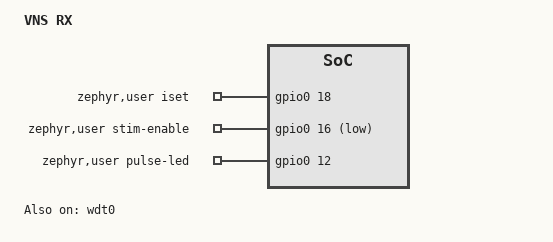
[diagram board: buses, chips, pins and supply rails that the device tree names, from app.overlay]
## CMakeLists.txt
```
cmake_minimum_required(VERSION 3.20.0)
find_package(Zephyr REQUIRED HINTS $ENV{ZEPHYR_BASE})
project(vns_rx LANGUAGES C)
if(NOT NCS_VERSION STREQUAL "3.3.0")
  message(FATAL_ERROR "NCS 3.3.0 is required; found '${NCS_VERSION}'")
endif()
if(NOT CONFIG_BOARD_NRF52DK_NRF52832)
  message(FATAL_ERROR "Use nrf52dk/nrf52832 with the RX app.overlay")
endif()
target_include_directories(app PRIVATE include)
target_compile_definitions(app PRIVATE VNS_ROLE_RX=1)
target_sources(app PRIVATE src/main.c src/rx_stim.c src/rx_hw.c src/rx_service.c src/rx_link_policy.c)
```

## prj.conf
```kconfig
CONFIG_GPIO=y
CONFIG_ADC=n
CONFIG_NRFX_TIMER=y
CONFIG_NRFX_PWM=y
CONFIG_NRFX_GPPI=y
CONFIG_WATCHDOG=y
CONFIG_REBOOT=y
CONFIG_HW_STACK_PROTECTION=y
CONFIG_ASSERT=y
CONFIG_MAIN_STACK_SIZE=2048
CONFIG_SYSTEM_WORKQUEUE_STACK_SIZE=2048
CONFIG_SERIAL=n
CONFIG_CONSOLE=n
CONFIG_UART_CONSOLE=n
CONFIG_LOG=n
# RC avoids assuming an unconfirmed RX LF crystal. Review clock accuracy before output approval.
CONFIG_CLOCK_CONTROL_NRF_K32SRC_RC=y
CONFIG_BT=y
CONFIG_BT_PERIPHERAL=y
CONFIG_BT_MAX_CONN=1
CONFIG_BT_BUF_ACL_TX_COUNT=6
CONFIG_BT_L2CAP_TX_BUF_COUNT=6
CONFIG_BT_ATT_TX_COUNT=6
CONFIG_BT_CONN_TX_MAX=6
CONFIG_BT_DEVICE_NAME="VNS_RX_01"
CONFIG_BT_PERIPHERAL_PREF_MIN_INT=24
CONFIG_BT_PERIPHERAL_PREF_MAX_INT=40
CONFIG_BT_PERIPHERAL_PREF_TIMEOUT=200
CONFIG_BT_SMP=n
CONFIG_BT_PRIVACY=n
CONFIG_BT_SETTINGS=n
CONFIG_SETTINGS=y
CONFIG_SETTINGS_NVS=y
CONFIG_NVS=y
CONFIG_FLASH=y
CONFIG_FLASH_MAP=y
CONFIG_FLASH_PAGE_LAYOUT=y
CONFIG_ENTROPY_GENERATOR=y
```

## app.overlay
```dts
#include <zephyr/dt-bindings/gpio/gpio.h>
#include <zephyr/dt-bindings/regulator/nrf5x.h>
/delete-node/ &arduino_header;
/delete-node/ &arduino_adc;
/ {
    model = "VNS RX";
    /delete-node/ leds;
    /delete-node/ pwmleds;
    /delete-node/ buttons;
    /delete-node/ aliases;
    chosen {
        /delete-property/ zephyr,console;
        /delete-property/ zephyr,shell-uart;
        /delete-property/ zephyr,uart-mcumgr;
        /delete-property/ zephyr,bt-mon-uart;
        /delete-property/ zephyr,code-partition;
    };
    /* Confirmed by the user on 2026-11-02: same wiring as legacy VNS_nRF.
     * This receiver has no external voltage-monitor circuit. */
    zephyr,user {
        iset-gpios = <&gpio0 18 GPIO_ACTIVE_HIGH>;
        stim-enable-gpios = <&gpio0 16 GPIO_ACTIVE_LOW>;
        pulse-led-gpios = <&gpio0 12 GPIO_ACTIVE_HIGH>;
    };
};
&reg { regulator-initial-mode = <NRF5X_REG_MODE_LDO>; };
&uicr { /delete-property/ gpio-as-nreset; };
&uart0 { status = "disabled"; };
&i2c0 { status = "disabled"; };
&i2c1 { status = "disabled"; };
&spi0 { status = "disabled"; };
&spi1 { status = "disabled"; };
&spi2 {
    status = "disabled";
    /* The DK CS references arduino_header, deleted above. Disabled nodes must
     * still have valid phandles, so remove the inherited DK-only reference. */
    /delete-property/ cs-gpios;
};
&nfct { status = "disabled"; };
&adc { status = "disabled"; };
&gpiote { status = "okay"; };
&wdt0 { status = "okay"; };
&pwm0 { status = "disabled"; };
/* TIMER1 supplies the LED carrier directly through nrfx/PPI. */
&timer1 { status = "disabled"; };
&timer2 { status = "disabled"; };
&timer3 { status = "disabled"; };
&timer4 { status = "disabled"; };
```

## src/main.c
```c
#include "rx_stim.h"
#include "rx_service.h"
#include <zephyr/kernel.h>
#include <zephyr/fatal.h>
#include <zephyr/drivers/watchdog.h>
#include <zephyr/sys/reboot.h>
static void expired(const struct device *dev,int channel){ARG_UNUSED(dev);ARG_UNUSED(channel);rx_stim_emergency_off();}
void k_sys_fatal_error_handler(unsigned int reason,const struct arch_esf *esf) {
    ARG_UNUSED(reason);ARG_UNUSED(esf);rx_stim_emergency_off();sys_reboot(SYS_REBOOT_COLD);CODE_UNREACHABLE;
}
int main(void) {
    /* Hardware initialization failures are reported over the RX status link. */
    (void)rx_stim_init();
    const struct device *wdt=DEVICE_DT_GET(DT_NODELABEL(wdt0));
    if(!device_is_ready(wdt))goto failed;
    const struct wdt_timeout_cfg cfg={.window={.min=0,.max=2000},.callback=expired,.flags=WDT_FLAG_RESET_SOC};
    int channel=wdt_install_timeout(wdt,&cfg);
    /* SWD flash/verify halts the CPU. Pause WDT only while debugger-halted;
     * the normal runtime watchdog remains active, including during sleep. */
    if(channel<0||wdt_setup(wdt,WDT_OPT_PAUSE_HALTED_BY_DBG))goto failed;
    if(rx_service_init())goto failed;
    while(1){rx_service_poll();rx_stim_poll();if(wdt_feed(wdt,channel))goto failed;k_sleep(K_MSEC(20));}
failed:
    rx_stim_emergency_off();k_panic();return 0;
}
```

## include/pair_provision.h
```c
#pragma once
/* Generated ONLY by the user's provisioning step. No shared default key.
 * Addresses are stable BLE identity addresses, not names or guessed GPIOs. */
#define VNS_PAIR_PROVISIONED 0
#define VNS_TX_IDENTITY ""
#define VNS_RX_IDENTITY ""
#define VNS_TX_ADDR_TYPE "random"
#define VNS_RX_ADDR_TYPE "random"
#define VNS_RX_PASSKEY 0
#define VNS_PHONE_PASSKEY 0
```

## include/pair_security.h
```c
#pragma once
#include <zephyr/bluetooth/conn.h>
int pair_security_init(void);
void pair_security_confirm_identity(void);
int pair_security_for_central(struct bt_conn *conn);
bool pair_security_configured(void);
bool pair_security_expected(const bt_addr_le_t *address);
bool pair_security_trusted(struct bt_conn *conn);
```

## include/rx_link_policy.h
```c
#pragma once
#include <zephyr/bluetooth/conn.h>
#include <zephyr/net_buf.h>
/* Prototype discovery label, NOT a cryptographic identity or saved bond. */
#define RX_DISCOVERY_NAME "VNS_RX_01"
int rx_link_init(void);
bool rx_link_configured(void);
bool rx_link_allowed(struct bt_conn *conn);
bool rx_link_candidate(const bt_addr_le_t *addr,struct net_buf_simple *ad);
```

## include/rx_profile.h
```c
#pragma once
#include <zephyr/devicetree.h>
/* User-confirmed legacy RX wiring is in app.overlay. Availability comes from
 * actual GPIO/driver initialization, not a separate approval switch. */
#define RX_HAS_OUTPUT_PINS (DT_NODE_HAS_PROP(DT_PATH(zephyr_user),iset_gpios) && \
                            DT_NODE_HAS_PROP(DT_PATH(zephyr_user),stim_enable_gpios))
#define RX_ISET_FULL_SCALE_UA 1939U /* Legacy VNS_nRF conversion model; NOT measured feedback. */
#define RX_DEFAULT_CURRENT_UA 1000U
#define RX_DEFAULT_FREQUENCY_MHZ 15000U
#define RX_DEFAULT_WIDTH_US 250U
/* Legacy software ranges, bounded by the ISET model and v2 wire fields.
 * These are implementation limits, not clinical treatment recommendations. */
#define RX_MAX_CURRENT_UA RX_ISET_FULL_SCALE_UA
#define RX_MIN_FREQUENCY_MHZ 100U
#define RX_MAX_FREQUENCY_MHZ 500000U
#define RX_MIN_WIDTH_US 100U
#define RX_MAX_WIDTH_US 65535U
#define RX_MAX_DURATION_MS 3600000U
#define RX_ISET_SETTLE_US 6000U /* Legacy stimulation.c SETTLE_MS=6. */
#define RX_LEASE_MS 1500U /* Fault-response deadline; never auto-renewed on reconnect. */
```

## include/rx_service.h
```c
#pragma once
int rx_service_init(void);
void rx_service_poll(void);
```

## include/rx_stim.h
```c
#pragma once
#include "stim_wire.h"
int rx_stim_init(void);
void rx_stim_poll(void);
void rx_stim_stop(uint8_t reason);
void rx_stim_emergency_off(void);
void rx_stim_session(uint32_t nonce,bool link_allowed);
uint8_t rx_stim_command(uint8_t op,uint32_t nonce,const struct stim_params *params,uint32_t permit);
uint32_t rx_stim_generation(void);
void rx_stim_status(uint8_t *p,uint16_t id,uint8_t op,uint8_t result);
void rx_stim_params(uint8_t *p,uint16_t id);
void rx_stim_limits(uint8_t *p);
int rx_hw_init(void);
int rx_hw_apply(struct stim_params *params);
int rx_hw_start(const struct stim_params *params);
void rx_hw_keepalive(void);
void rx_hw_off(void);
bool rx_hw_expired(void);
```

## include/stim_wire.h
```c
#pragma once
#include <stdint.h>
#include <stddef.h>
#include <stdbool.h>
#define STIM_WIRE_VERSION 2
#define STIM_PACKET_SIZE 20
#define STIM_UUID(last) BT_UUID_128_ENCODE(last,0x1b15,0x4f1b,0x9e90,0x77a4c9b5a200)
#define STIM_RX_SERVICE 0x7f520001
#define STIM_RX_WRITE   0x7f520002
#define STIM_RX_NOTIFY  0x7f520003
#define STIM_GW_SERVICE 0x7f510001
#define STIM_GW_WRITE   0x7f510002
#define STIM_GW_NOTIFY  0x7f510003
enum stim_op { STIM_QUERY=1,STIM_CONFIG,STIM_START,STIM_STOP,STIM_KEEPALIVE };
enum stim_packet { STIM_STATUS=0x80,STIM_PARAMS,STIM_GATEWAY,STIM_LIMITS,STIM_REJECT };
enum stim_state { STIM_OFF,STIM_SETTLING,STIM_ACTIVE,STIM_LOCKED,STIM_FAULT };
enum stim_result { STIM_OK,STIM_BAD_FRAME,STIM_BAD_RANGE,STIM_NOT_READY,STIM_SECURITY,
    STIM_POWER,STIM_TIMEOUT,STIM_HARDWARE,STIM_BUSY,STIM_STALE,STIM_PROFILE };
enum stim_flags { STIM_F_READY=1,STIM_F_SECURE=2,STIM_F_POWER=4,STIM_F_PROFILE=8,
    STIM_F_BOARD=16,STIM_F_CONFIGURED=32,STIM_F_LINK_ALLOWED=64 };
struct stim_params { uint16_t current_ua;uint32_t frequency_mhz;uint16_t width_us;uint32_t duration_ms; };
static inline uint16_t sw16(const uint8_t *p){return p[0]|((uint16_t)p[1]<<8);}
static inline uint32_t sw32(const uint8_t *p){return sw16(p)|((uint32_t)sw16(p+2)<<16);}
static inline void sp16(uint8_t *p,uint16_t n){p[0]=n;p[1]=n>>8;}
static inline void sp32(uint8_t *p,uint32_t n){sp16(p,n);sp16(p+2,n>>16);}
static inline struct stim_params stim_decode_params(const uint8_t *p) {
    return (struct stim_params){sw16(p+8),sw32(p+10),sw16(p+14),sw32(p+16)};
}
static inline void stim_encode_params(uint8_t *p,const struct stim_params *s) {
    sp16(p+8,s->current_ua);sp32(p+10,s->frequency_mhz);sp16(p+14,s->width_us);sp32(p+16,s->duration_ms);
}
static inline bool stim_command_valid(const uint8_t *p,size_t len) {
    if(len!=20||p[0]!=STIM_WIRE_VERSION||p[1]<STIM_QUERY||p[1]>STIM_KEEPALIVE||sw16(p+2)==0xffff)return false;
    if(p[1]!=STIM_CONFIG)for(unsigned i=8;i<20;i++)if(p[i])return false;
    return true;
}
```

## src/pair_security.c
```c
#include "pair_security.h"
#include "pair_provision.h"
#include <errno.h>
#include <zephyr/kernel.h>
#include <zephyr/bluetooth/bluetooth.h>
static bt_addr_le_t expected;
static bool configured;
static void find_bond(const struct bt_bond_info *info,void *user) {
    bool *found=user;if(!bt_addr_le_cmp(&info->addr,&expected))*found=true;
}
static bool bonded_expected(void) {
    bool found=false;bt_foreach_bond(BT_ID_DEFAULT,find_bond,&found);return found;
}
bool pair_security_configured(void){return configured;}
void pair_security_confirm_identity(void) {
    bt_addr_le_t actual[1],required;size_t count=1;
#if defined(VNS_ROLE_TX)
    const char *addr=VNS_TX_IDENTITY,*type=VNS_TX_ADDR_TYPE;
#else
    const char *addr=VNS_RX_IDENTITY,*type=VNS_RX_ADDR_TYPE;
#endif
    if(!configured)return;
    bt_id_get(actual,&count);
    if(!count||bt_addr_le_from_str(addr,type,&required)||bt_addr_le_cmp(actual,&required))configured=false;
}
bool pair_security_expected(const bt_addr_le_t *a){return configured&&!bt_addr_le_cmp(a,&expected);}
bool pair_security_trusted(struct bt_conn *c) {
    struct bt_conn_info i;
    return c&&!bt_conn_get_info(c,&i)&&pair_security_expected(i.le.dst)&&
        bt_conn_get_security(c)>=BT_SECURITY_L4&&bonded_expected();
}
static enum bt_security_err accept_pair(struct bt_conn *c,const struct bt_conn_pairing_feat *const feat) {
    ARG_UNUSED(feat);struct bt_conn_info i;
    if(!configured||bt_conn_get_info(c,&i))return BT_SECURITY_ERR_PAIR_NOT_ALLOWED;
#if defined(VNS_ROLE_TX)
    if(i.role==BT_CONN_ROLE_PERIPHERAL)return BT_SECURITY_ERR_SUCCESS;
#endif
    /* A stored bond must be reused. Never silently replace it after a failed encryption. */
    if(!pair_security_expected(i.le.dst)||bonded_expected())return BT_SECURITY_ERR_PAIR_NOT_ALLOWED;
#if !defined(VNS_ROLE_TX)
    if(k_uptime_get()>120000)return BT_SECURITY_ERR_PAIR_NOT_ALLOWED;
#endif
    return BT_SECURITY_ERR_SUCCESS;
}
static void cancelled(struct bt_conn *c){ARG_UNUSED(c);}
static void display(struct bt_conn *c,unsigned int key){ARG_UNUSED(c);ARG_UNUSED(key);/* Out-of-band provisioning record, never public telemetry. */}
static uint32_t passkey(struct bt_conn *c) {
    ARG_UNUSED(c);
#if defined(VNS_ROLE_TX)
    return VNS_PHONE_PASSKEY;
#else
    return VNS_RX_PASSKEY;
#endif
}
static const struct bt_conn_auth_cb auth={.pairing_accept=accept_pair,.app_passkey=passkey,.passkey_display=display,.cancel=cancelled};
static void enter_key(struct bt_conn *c) {
    struct bt_conn_info i;
    if(configured&&!bt_conn_get_info(c,&i)&&pair_security_expected(i.le.dst))
        (void)bt_conn_auth_passkey_entry(c,VNS_RX_PASSKEY);
    else (void)bt_conn_auth_cancel(c);
}
static const struct bt_conn_auth_cb central_auth={.pairing_accept=accept_pair,.passkey_entry=enter_key,.cancel=cancelled};
int pair_security_for_central(struct bt_conn *c){return bt_conn_auth_cb_overlay(c,&central_auth);}
int pair_security_init(void) {
#if defined(VNS_ROLE_TX)
    const char *addr=VNS_RX_IDENTITY,*type=VNS_RX_ADDR_TYPE;
#else
    const char *addr=VNS_TX_IDENTITY,*type=VNS_TX_ADDR_TYPE;
#endif
    configured=VNS_PAIR_PROVISIONED&&VNS_RX_PASSKEY>0&&VNS_RX_PASSKEY<=999999&&
        VNS_PHONE_PASSKEY>0&&VNS_PHONE_PASSKEY<=999999&&!bt_addr_le_from_str(addr,type,&expected);
    return bt_conn_auth_cb_register(&auth);
}
```

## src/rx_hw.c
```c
#include "rx_stim.h"
#include "rx_profile.h"
#include <errno.h>
#include <zephyr/kernel.h>
#include <zephyr/init.h>
#include <zephyr/drivers/gpio.h>
#if RX_HAS_OUTPUT_PINS
#include <zephyr/irq.h>
#include <zephyr/drivers/clock_control/nrf_clock_control.h>
#include <zephyr/sys/onoff.h>
#include <gpiote_nrfx.h>
#include <nrfx_timer.h>
#include <nrfx_pwm.h>
#include <nrfx_gpiote.h>
#include <helpers/nrfx_gppi.h>
#include <hal/nrf_gpio.h>
#define USER DT_PATH(zephyr_user)
#define ISET DT_GPIO_PIN(USER,iset_gpios)
#define GATE DT_GPIO_PIN(USER,stim_enable_gpios)
#define LED DT_GPIO_PIN(USER,pulse_led_gpios)
#define ACTIVE_LOW ((DT_GPIO_FLAGS(USER,stim_enable_gpios)&GPIO_ACTIVE_LOW)!=0)
BUILD_ASSERT(ISET==18&&GATE==16&&ACTIVE_LOW,"Keep the user-confirmed legacy RX pin mapping");
BUILD_ASSERT(LED==12&&DT_GPIO_FLAGS(USER,pulse_led_gpios)==GPIO_ACTIVE_HIGH,"Keep legacy LED2 P0.12 active-high");
#define TOP 160U
static nrfx_timer_t pulse=NRFX_TIMER_INSTANCE(NRF_TIMER2),duration=NRFX_TIMER_INSTANCE(NRF_TIMER3),lease=NRFX_TIMER_INSTANCE(NRF_TIMER4);
/* TIMER3 is already the session deadline; TIMER1 is free on nRF52832/MPSL. */
static nrfx_timer_t led_carrier=NRFX_TIMER_INSTANCE(NRF_TIMER1);
static nrfx_pwm_t pwm=NRFX_PWM_INSTANCE(NRF_PWM0);
static nrfx_gpiote_t *const gpiote=&GPIOTE_NRFX_INST_BY_NODE(DT_NODELABEL(gpiote));
static nrfx_gppi_handle_t on_route,off_route,end_route,lease_route;
static nrfx_gppi_handle_t led_on_route,led_off_route,led_stop_route,led_end_route,led_lease_route;
static nrfx_gppi_group_handle_t group;
static bool routes,group_ready,ready;
static uint8_t channel=UINT8_MAX,led_channel=UINT8_MAX;
static uint16_t duty __aligned(4)=BIT(15);
static const nrf_pwm_sequence_t sequence={.values.p_common=&duty,.length=1,.repeats=31,.end_delay=0};
static uint32_t gate_off_task(void){return ACTIVE_LOW?nrfx_gpiote_set_task_address_get(gpiote,GATE):nrfx_gpiote_clr_task_address_get(gpiote,GATE);}
static uint32_t led_off_task(void){return nrfx_gpiote_clr_task_address_get(gpiote,LED);}
static int early_safe(void) {
    nrf_gpio_pin_write(GATE,ACTIVE_LOW); /* Inactive latch before output enable. */
    nrf_gpio_cfg(GATE,NRF_GPIO_PIN_DIR_OUTPUT,NRF_GPIO_PIN_INPUT_DISCONNECT,
        ACTIVE_LOW?NRF_GPIO_PIN_PULLUP:NRF_GPIO_PIN_PULLDOWN,NRF_GPIO_PIN_S0S1,NRF_GPIO_PIN_NOSENSE);
    nrf_gpio_pin_clear(ISET);nrf_gpio_cfg_output(ISET);
    nrf_gpio_pin_clear(LED);nrf_gpio_cfg_output(LED);return 0;
}
SYS_INIT(early_safe,PRE_KERNEL_1,1);
void rx_hw_off(void) {
    if(group_ready)nrfx_gppi_group_disable(group);
    nrf_timer_task_trigger(NRF_TIMER2,NRF_TIMER_TASK_STOP);
    nrf_timer_task_trigger(NRF_TIMER3,NRF_TIMER_TASK_STOP);
    nrf_timer_task_trigger(NRF_TIMER4,NRF_TIMER_TASK_STOP);
    nrf_timer_task_trigger(NRF_TIMER1,NRF_TIMER_TASK_STOP);
    nrf_timer_task_trigger(NRF_TIMER1,NRF_TIMER_TASK_CLEAR);
    if(channel!=UINT8_MAX)nrf_gpiote_task_trigger(NRF_GPIOTE,ACTIVE_LOW?nrf_gpiote_set_task_get(channel):nrf_gpiote_clr_task_get(channel));
    if(led_channel!=UINT8_MAX)nrf_gpiote_task_trigger(NRF_GPIOTE,nrf_gpiote_clr_task_get(led_channel));
    nrf_gpio_pin_write(GATE,ACTIVE_LOW);nrf_gpio_pin_clear(LED);duty=BIT(15);__DMB();
}
static K_SEM_DEFINE(clock_ready,0,1);
static struct onoff_client clock_client;
static int clock_error;
static void clock_started(struct onoff_manager *m,struct onoff_client *c,uint32_t state,int result) {
    ARG_UNUSED(m);ARG_UNUSED(c);ARG_UNUSED(state);clock_error=result;k_sem_give(&clock_ready);
}
int rx_hw_init(void) {
    struct onoff_manager *hf=z_nrf_clock_control_get_onoff(CLOCK_CONTROL_NRF_SUBSYS_HF);
    if(!hf)return -ENODEV;sys_notify_init_callback(&clock_client.notify,clock_started);
    int err=onoff_request(hf,&clock_client);if(err<0)return err;
    if(k_sem_take(&clock_ready,K_SECONDS(1)))return -ETIMEDOUT;if(clock_error)return clock_error;
    nrfx_timer_config_t tc=NRFX_TIMER_DEFAULT_CONFIG(1000000);tc.bit_width=NRF_TIMER_BIT_WIDTH_32;
    if((err=nrfx_timer_init(&pulse,&tc,NULL))||(err=nrfx_timer_init(&duration,&tc,NULL))||(err=nrfx_timer_init(&lease,&tc,NULL)))return err;
    nrfx_timer_config_t lc=NRFX_TIMER_DEFAULT_CONFIG(16000000);lc.bit_width=NRF_TIMER_BIT_WIDTH_16;
    if((err=nrfx_timer_init(&led_carrier,&lc,NULL)))return err;
    if((err=nrfx_gpiote_channel_alloc(gpiote,&channel)))return err;
    if((err=nrfx_gpiote_channel_alloc(gpiote,&led_channel)))return err;
    const nrfx_gpiote_output_config_t output=NRFX_GPIOTE_DEFAULT_OUTPUT_CONFIG;
    const nrfx_gpiote_task_config_t task={.task_ch=channel,.polarity=NRF_GPIOTE_POLARITY_TOGGLE,
        .init_val=ACTIVE_LOW?NRF_GPIOTE_INITIAL_VALUE_HIGH:NRF_GPIOTE_INITIAL_VALUE_LOW};
    if((err=nrfx_gpiote_output_configure(gpiote,GATE,&output,&task)))return err;
    const nrfx_gpiote_task_config_t led_task={.task_ch=led_channel,.polarity=NRF_GPIOTE_POLARITY_TOGGLE,
        .init_val=NRF_GPIOTE_INITIAL_VALUE_LOW};
    if((err=nrfx_gpiote_output_configure(gpiote,LED,&output,&led_task)))return err;
    nrfx_gpiote_out_task_enable(gpiote,GATE);
    nrfx_gpiote_out_task_enable(gpiote,LED);
    uint32_t on_task=ACTIVE_LOW?nrfx_gpiote_clr_task_address_get(gpiote,GATE):nrfx_gpiote_set_task_address_get(gpiote,GATE);
    uint32_t on_event=nrfx_timer_compare_event_address_get(&pulse,NRF_TIMER_CC_CHANNEL0);
    if((err=nrfx_gppi_conn_alloc(on_event,on_task,&on_route))||
       (err=nrfx_gppi_conn_alloc(nrfx_timer_compare_event_address_get(&pulse,NRF_TIMER_CC_CHANNEL1),gate_off_task(),&off_route)))return err;
    if((err=nrfx_gppi_group_alloc(nrfx_gppi_domain_id_get(on_event),&group)))return err;group_ready=true;
    if((err=nrfx_gppi_group_ep_add(group,on_event)))return err;
    uint32_t led_on_event=nrfx_timer_compare_event_address_get(&led_carrier,NRF_TIMER_CC_CHANNEL0);
    uint32_t led_off_event=nrfx_timer_compare_event_address_get(&led_carrier,NRF_TIMER_CC_CHANNEL1);
    /* Nested 100 kHz PWM. The gate ON event also starts TIMER1 through the
     * same PPI channel; the envelope OFF event independently clears LED2. */
    if((err=nrfx_gppi_ep_attach(nrfx_timer_task_address_get(&led_carrier,NRF_TIMER_TASK_START),on_route))||
       (err=nrfx_gppi_ep_attach(led_off_task(),off_route))||
       (err=nrfx_gppi_conn_alloc(nrfx_timer_compare_event_address_get(&pulse,NRF_TIMER_CC_CHANNEL1),
                               nrfx_timer_task_address_get(&led_carrier,NRF_TIMER_TASK_STOP),&led_stop_route))||
       (err=nrfx_gppi_ep_attach(nrfx_timer_task_address_get(&led_carrier,NRF_TIMER_TASK_CLEAR),led_stop_route))||
       (err=nrfx_gppi_conn_alloc(led_on_event,nrfx_gpiote_set_task_address_get(gpiote,LED),&led_on_route))||
       (err=nrfx_gppi_conn_alloc(led_off_event,led_off_task(),&led_off_route))||
       (err=nrfx_gppi_group_ep_add(group,led_on_event))||
       (err=nrfx_gppi_group_ep_add(group,led_off_event)))return err;
    /* Each local deadline disables all future ON events AND asserts OFF in HW. */
    if((err=nrfx_gppi_conn_alloc(nrfx_timer_compare_event_address_get(&duration,NRF_TIMER_CC_CHANNEL0),nrfx_gppi_group_task_dis_addr(group),&end_route))||
       (err=nrfx_gppi_ep_attach(gate_off_task(),end_route))||
       (err=nrfx_gppi_conn_alloc(nrfx_timer_compare_event_address_get(&lease,NRF_TIMER_CC_CHANNEL0),nrfx_gppi_group_task_dis_addr(group),&lease_route))||
       (err=nrfx_gppi_ep_attach(gate_off_task(),lease_route)))return err;
    /* nRF52 PPI has only two task endpoints per channel. Each deadline needs
     * another channel for TIMER1 STOP + LED CLR; never overfill the gate route. */
    if((err=nrfx_gppi_conn_alloc(nrfx_timer_compare_event_address_get(&duration,NRF_TIMER_CC_CHANNEL0),
                               nrfx_timer_task_address_get(&led_carrier,NRF_TIMER_TASK_STOP),&led_end_route))||
       (err=nrfx_gppi_ep_attach(led_off_task(),led_end_route))||
       (err=nrfx_gppi_conn_alloc(nrfx_timer_compare_event_address_get(&lease,NRF_TIMER_CC_CHANNEL0),
                               nrfx_timer_task_address_get(&led_carrier,NRF_TIMER_TASK_STOP),&led_lease_route))||
       (err=nrfx_gppi_ep_attach(led_off_task(),led_lease_route)))return err;
    routes=true;rx_hw_off();
    IRQ_CONNECT(DT_IRQN(DT_NODELABEL(pwm0)),DT_IRQ(DT_NODELABEL(pwm0),priority),nrfx_pwm_irq_handler,&pwm,0);
#if NRF_ERRATA_STATIC_CHECK(52,109)
    IRQ_CONNECT(DT_IRQN(DT_NODELABEL(egu4)),DT_IRQ(DT_NODELABEL(egu4),priority),nrfx_pwm_nrf52_anomaly_109_handler,&pwm,0);
    BUILD_ASSERT(NRFX_PWM_NRF52_ANOMALY_109_EGU_INSTANCE==4);
#endif
    nrfx_pwm_config_t pc=NRFX_PWM_DEFAULT_CONFIG(ISET,NRF_PWM_PIN_NOT_CONNECTED,NRF_PWM_PIN_NOT_CONNECTED,NRF_PWM_PIN_NOT_CONNECTED);
    pc.irq_priority=DT_IRQ(DT_NODELABEL(pwm0),priority);pc.base_clock=NRF_PWM_CLK_16MHz;pc.top_value=TOP;
    if((err=nrfx_pwm_init(&pwm,&pc,NULL,NULL)))return err;
    nrfx_pwm_simple_playback(&pwm,&sequence,1,NRFX_PWM_FLAG_LOOP);ready=true;return 0;
}
int rx_hw_apply(struct stim_params *s) {
    if(!ready||!RX_ISET_FULL_SCALE_UA)return -EACCES;
    rx_hw_off();
    nrf_timer_event_clear(NRF_TIMER3,NRF_TIMER_EVENT_COMPARE0);nrf_timer_event_clear(NRF_TIMER4,NRF_TIMER_EVENT_COMPARE0);
    uint32_t ticks=(uint32_t)s->current_ua*TOP/RX_ISET_FULL_SCALE_UA;
    if(!ticks||ticks>TOP)return -EINVAL;
    duty=BIT(15)|ticks;__DMB();s->current_ua=(ticks*RX_ISET_FULL_SCALE_UA+TOP/2)/TOP;return 0;
}
void rx_hw_keepalive(void) {
    if(!ready)return;
    nrfx_timer_disable(&lease);nrfx_timer_clear(&lease);nrf_timer_event_clear(NRF_TIMER4,NRF_TIMER_EVENT_COMPARE0);
    nrfx_timer_extended_compare(&lease,NRF_TIMER_CC_CHANNEL0,RX_LEASE_MS*1000U,NRF_TIMER_SHORT_COMPARE0_STOP_MASK,false);
    nrfx_gppi_conn_enable(lease_route);nrfx_gppi_conn_enable(led_lease_route);nrfx_timer_enable(&lease);
}
int rx_hw_start(const struct stim_params *s) {
    if(!ready||!routes||!s->frequency_mhz)return -EACCES;
    uint64_t exact=(1000000000ULL+s->frequency_mhz/2)/s->frequency_mhz;
    if(exact>UINT32_MAX||s->width_us+2U>=exact)return -EINVAL;
    uint32_t period=exact;
    nrfx_timer_disable(&pulse);nrfx_timer_clear(&pulse);
    nrfx_timer_extended_compare(&pulse,NRF_TIMER_CC_CHANNEL0,1,0,false);
    nrfx_timer_extended_compare(&pulse,NRF_TIMER_CC_CHANNEL1,s->width_us+1U,0,false);
    nrfx_timer_extended_compare(&pulse,NRF_TIMER_CC_CHANNEL2,period,NRF_TIMER_SHORT_COMPARE2_CLEAR_MASK,false);
    nrfx_timer_disable(&led_carrier);nrfx_timer_clear(&led_carrier);
    /* One 16 MHz tick offsets SET from the integer-us envelope OFF edge.
     * The high width is exactly the same quantized duty as ISET. At TOP duty,
     * CC1=TOP+1 is never reached, giving solid ON within each envelope. */
    nrfx_timer_extended_compare(&led_carrier,NRF_TIMER_CC_CHANNEL0,1,0,false);
    nrfx_timer_extended_compare(&led_carrier,NRF_TIMER_CC_CHANNEL1,1U+(duty&0x7fffU),0,false);
    nrfx_timer_extended_compare(&led_carrier,NRF_TIMER_CC_CHANNEL2,TOP,NRF_TIMER_SHORT_COMPARE2_CLEAR_MASK,false);
    nrfx_timer_disable(&duration);nrfx_timer_clear(&duration);nrf_timer_event_clear(NRF_TIMER3,NRF_TIMER_EVENT_COMPARE0);
    nrfx_timer_extended_compare(&duration,NRF_TIMER_CC_CHANNEL0,s->duration_ms*1000U,NRF_TIMER_SHORT_COMPARE0_STOP_MASK,false);
    nrfx_gppi_conn_enable(off_route);nrfx_gppi_conn_enable(end_route);nrfx_gppi_conn_enable(lease_route);
    nrfx_gppi_conn_enable(led_stop_route);nrfx_gppi_conn_enable(led_end_route);nrfx_gppi_conn_enable(led_lease_route);
    nrfx_timer_enable(&duration);nrfx_gppi_group_enable(group);nrfx_timer_enable(&pulse);return 0;
}
bool rx_hw_expired(void){return nrf_timer_event_check(NRF_TIMER3,NRF_TIMER_EVENT_COMPARE0)||nrf_timer_event_check(NRF_TIMER4,NRF_TIMER_EVENT_COMPARE0);}
#else
/* No GPIO guesses: this build is a BLE/parameter-development receiver only. */
int rx_hw_init(void){return -ENOTSUP;}
int rx_hw_apply(struct stim_params *s){ARG_UNUSED(s);return -EACCES;}
int rx_hw_start(const struct stim_params *s){ARG_UNUSED(s);return -EACCES;}
void rx_hw_keepalive(void){}
void rx_hw_off(void){}
bool rx_hw_expired(void){return false;}
#endif
```

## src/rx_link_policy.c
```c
#include "rx_link_policy.h"
#include "stim_wire.h"
#include <string.h>
#include <zephyr/kernel.h>
#include <zephyr/bluetooth/bluetooth.h>
#include <zephyr/bluetooth/uuid.h>
int rx_link_init(void){return 0;}
bool rx_link_configured(void){return sizeof(RX_DISCOVERY_NAME)>1;}
bool rx_link_allowed(struct bt_conn *conn) {
    struct bt_conn_info info;
    if(!conn||bt_conn_get_info(conn,&info)||info.state!=BT_CONN_STATE_CONNECTED)return false;
#if defined(VNS_ROLE_TX)
    return info.role==BT_CONN_ROLE_CENTRAL;
#else
    return info.role==BT_CONN_ROLE_PERIPHERAL;
#endif
}
#if defined(VNS_ROLE_TX)
static const struct bt_uuid_128 rx_service_uuid=BT_UUID_INIT_128(STIM_UUID(STIM_RX_SERVICE));
struct candidate {bt_addr_le_t addr;uint32_t seen,name_at,service_at;bool used,name,service;};
static struct candidate candidates[4];
struct fields {bool has_name,name,has_service,service;};
static bool parse(struct bt_data *d,void *user) {
    struct fields *f=user;
    if(d->type==BT_DATA_NAME_COMPLETE) {
        f->has_name=true;f->name=d->data_len==sizeof(RX_DISCOVERY_NAME)-1&&
            !memcmp(d->data,RX_DISCOVERY_NAME,sizeof(RX_DISCOVERY_NAME)-1);
    } else if(d->type==BT_DATA_UUID128_ALL||d->type==BT_DATA_UUID128_SOME) {
        bool found=false;
        for(unsigned i=0;i+16<=d->data_len;i+=16)if(!memcmp(d->data+i,rx_service_uuid.val,16))found=true;
        if(found||d->type==BT_DATA_UUID128_ALL){f->has_service=true;f->service=found;}
    }
    return true;
}
bool rx_link_candidate(const bt_addr_le_t *addr,struct net_buf_simple *ad) {
    struct fields f={0};bt_data_parse(ad,parse,&f);
    uint32_t now=k_uptime_get_32();struct candidate *slot=NULL,*oldest=&candidates[0];
    for(unsigned i=0;i<ARRAY_SIZE(candidates);i++) {
        struct candidate *c=&candidates[i];
        if(c->used&&!bt_addr_le_cmp(&c->addr,addr)){slot=c;break;}
        if(!c->used||now-c->seen>now-oldest->seen)oldest=c;
    }
    if(!slot) {
        if(!f.name&&!f.service)return false;
        slot=oldest;memset(slot,0,sizeof(*slot));slot->addr=*addr;slot->used=true;
    }
    slot->seen=now;
    if(f.has_name){slot->name=f.name;slot->name_at=now;}
    if(f.has_service){slot->service=f.service;slot->service_at=now;}
    /* Active-scan response can carry the name while the advertisement carries
     * the UUID. Merge ONLY for the same address and a bounded two-second window. */
    return slot->name&&slot->service&&now-slot->name_at<=2000&&now-slot->service_at<=2000;
}
#else
bool rx_link_candidate(const bt_addr_le_t *addr,struct net_buf_simple *ad){ARG_UNUSED(addr);ARG_UNUSED(ad);return false;}
#endif
```

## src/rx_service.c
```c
#include "rx_service.h"
#include "rx_stim.h"
#include "rx_link_policy.h"
#include <string.h>
#include <zephyr/kernel.h>
#include <zephyr/random/random.h>
#include <zephyr/sys/atomic.h>
#include <zephyr/bluetooth/bluetooth.h>
#include <zephyr/bluetooth/gatt.h>
#include <zephyr/bluetooth/hci.h>
static struct bt_uuid_128 service=BT_UUID_INIT_128(STIM_UUID(STIM_RX_SERVICE));
static struct bt_uuid_128 command_uuid=BT_UUID_INIT_128(STIM_UUID(STIM_RX_WRITE));
static struct bt_uuid_128 notify_uuid=BT_UUID_INIT_128(STIM_UUID(STIM_RX_NOTIFY));
static struct bt_conn *peer;
static struct k_spinlock lock;
static atomic_t epoch,subscribed,stop_requested;
static uint32_t nonce;
static uint16_t last_id;
static bool have_last;
struct request {uint32_t epoch,permit;uint8_t data[20];};
K_MSGQ_DEFINE(requests,sizeof(struct request),6,4);
static void advertise(struct k_work *work);
K_WORK_DELAYABLE_DEFINE(advertising,advertise);
static void invalidate(void) {
    rx_stim_emergency_off();atomic_inc(&epoch);atomic_set(&stop_requested,1);
}
static ssize_t read_status(struct bt_conn *c,const struct bt_gatt_attr *a,void *buf,uint16_t len,uint16_t off) {
    uint8_t p[20];rx_stim_status(p,0xffff,0,0);return bt_gatt_attr_read(c,a,buf,len,off,p,20);
}
static void ccc(const struct bt_gatt_attr *a,uint16_t value) {
    ARG_UNUSED(a);atomic_set(&subscribed,value==BT_GATT_CCC_NOTIFY);
    if(value!=BT_GATT_CCC_NOTIFY)invalidate();
}
static ssize_t received(struct bt_conn *c,const struct bt_gatt_attr *a,const void *buf,uint16_t len,uint16_t off,uint8_t flags) {
    ARG_UNUSED(a);const uint8_t *p=buf;
    if(off||(flags&BT_GATT_WRITE_FLAG_PREPARE)||!stim_command_valid(p,len)){invalidate();return BT_GATT_ERR(BT_ATT_ERR_VALUE_NOT_ALLOWED);}
    if(!rx_link_allowed(c)){invalidate();return BT_GATT_ERR(BT_ATT_ERR_UNLIKELY);}
    if(!atomic_get(&subscribed)){invalidate();return BT_GATT_ERR(BT_ATT_ERR_CCC_IMPROPER_CONF);}
    if(p[1]==STIM_STOP)invalidate();
    struct request q={.epoch=atomic_get(&epoch),.permit=rx_stim_generation()};memcpy(q.data,p,20);
    if(k_msgq_put(&requests,&q,K_NO_WAIT)){invalidate();return BT_GATT_ERR(BT_ATT_ERR_INSUFFICIENT_RESOURCES);}
    return len;
}
BT_GATT_SERVICE_DEFINE(rx_service,
    BT_GATT_PRIMARY_SERVICE(&service),
    BT_GATT_CHARACTERISTIC(&command_uuid.uuid,BT_GATT_CHRC_WRITE,BT_GATT_PERM_WRITE,NULL,received,NULL),
    BT_GATT_CHARACTERISTIC(&notify_uuid.uuid,BT_GATT_CHRC_READ|BT_GATT_CHRC_NOTIFY,BT_GATT_PERM_READ,read_status,NULL,NULL),
    BT_GATT_CCC(ccc,BT_GATT_PERM_READ|BT_GATT_PERM_WRITE));
static const struct bt_data ad[]={BT_DATA_BYTES(BT_DATA_FLAGS,BT_LE_AD_GENERAL|BT_LE_AD_NO_BREDR),BT_DATA_BYTES(BT_DATA_UUID128_ALL,STIM_UUID(STIM_RX_SERVICE))};
static const struct bt_data scan_data[]={BT_DATA(BT_DATA_NAME_COMPLETE,CONFIG_BT_DEVICE_NAME,sizeof(CONFIG_BT_DEVICE_NAME)-1)};
static void advertise(struct k_work *work) {
    ARG_UNUSED(work);k_spinlock_key_t key=k_spin_lock(&lock);bool busy=peer!=NULL;k_spin_unlock(&lock,key);
    if(busy)return;
    int err=bt_le_adv_start(BT_LE_ADV_CONN_FAST_2,ad,ARRAY_SIZE(ad),scan_data,ARRAY_SIZE(scan_data));
    if(err&&err!=-EALREADY)k_work_reschedule(&advertising,K_SECONDS(1));
}
static void connected(struct bt_conn *c,uint8_t error) {
    if(error){k_work_reschedule(&advertising,K_SECONDS(1));return;}
    struct bt_conn_info i;
    if(bt_conn_get_info(c,&i)||i.role!=BT_CONN_ROLE_PERIPHERAL){(void)bt_conn_disconnect(c,BT_HCI_ERR_AUTH_FAIL);return;}
    k_spinlock_key_t key=k_spin_lock(&lock);
    if(peer){k_spin_unlock(&lock,key);(void)bt_conn_disconnect(c,BT_HCI_ERR_REMOTE_USER_TERM_CONN);return;}
    peer=bt_conn_ref(c);atomic_clear(&subscribed);k_spin_unlock(&lock,key);invalidate();
    /* No SMP or saved bond in prototype mode. A new session still clears output. */
}
static void disconnected(struct bt_conn *c,uint8_t reason) {
    ARG_UNUSED(reason);invalidate();
    k_spinlock_key_t key=k_spin_lock(&lock);struct bt_conn *old=peer==c?peer:NULL;
    if(old){peer=NULL;atomic_clear(&subscribed);}k_spin_unlock(&lock,key);if(old)bt_conn_unref(old);
}
static void recycled(void){k_work_reschedule(&advertising,K_NO_WAIT);}
BT_CONN_CB_DEFINE(rx_connections)={.connected=connected,.disconnected=disconnected,.recycled=recycled};
static void notify(struct bt_conn *c,uint16_t id,uint8_t op,uint8_t result) {
    uint8_t p[20];rx_stim_status(p,id,op,result);
    if(bt_gatt_notify(c,&rx_service.attrs[4],p,20)){invalidate();return;}
    rx_stim_params(p,id);if(bt_gatt_notify(c,&rx_service.attrs[4],p,20)){invalidate();return;}
    rx_stim_limits(p);if(bt_gatt_notify(c,&rx_service.attrs[4],p,20))invalidate();
}
void rx_service_poll(void) {
    k_spinlock_key_t key=k_spin_lock(&lock);struct bt_conn *c=peer?bt_conn_ref(peer):NULL;k_spin_unlock(&lock,key);
    if(atomic_cas(&stop_requested,1,0)){rx_stim_session(0,false);nonce=0;have_last=false;}
    bool allowed=c&&rx_link_allowed(c)&&atomic_get(&subscribed);
    if(!allowed){if(nonce){rx_stim_session(0,false);nonce=0;have_last=false;}if(c)bt_conn_unref(c);return;}
    if(!nonce){do{nonce=sys_rand32_get();}while(!nonce);rx_stim_session(nonce,true);have_last=false;}
    struct request q;
    while(!k_msgq_get(&requests,&q,K_NO_WAIT)) {
        if(q.epoch!=(uint32_t)atomic_get(&epoch))continue;
        uint8_t *p=q.data,op=p[1],result;uint16_t id=sw16(p+2);
        if(have_last&&(int16_t)(id-last_id)<=0){rx_stim_stop(STIM_STALE);result=STIM_STALE;}
        else {
            struct stim_params s=stim_decode_params(p);last_id=id;have_last=true;
            result=rx_stim_command(op,sw32(p+4),&s,q.permit);
        }
        notify(c,id,op,result);
    }
    static uint32_t published;
    if(k_uptime_get_32()-published>=1000){published=k_uptime_get_32();notify(c,0xffff,0,0);}
    bt_conn_unref(c);
}
int rx_service_init(void) {
    int err=rx_link_init();if(!err)err=bt_enable(NULL);
    if(!err)k_work_reschedule(&advertising,K_NO_WAIT);return err;
}
```

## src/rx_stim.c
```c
#include "rx_stim.h"
#include "rx_profile.h"
#include <errno.h>
#include <string.h>
#include <zephyr/kernel.h>
#include <zephyr/sys/atomic.h>
static atomic_t cancellation;
static uint32_t armed_generation;
static struct k_mutex lock;
static bool hw_ready,link_allowed,configured;
static uint8_t state=STIM_LOCKED,fault_code;
static uint32_t session_nonce;
static int64_t end_ms,settle_ms;
static struct stim_params settings;
static bool profile_valid(void) {
    return RX_MAX_CURRENT_UA&&RX_ISET_FULL_SCALE_UA&&
        RX_MAX_CURRENT_UA<=RX_ISET_FULL_SCALE_UA&&RX_MIN_FREQUENCY_MHZ&&RX_MAX_FREQUENCY_MHZ>=RX_MIN_FREQUENCY_MHZ&&
        RX_MIN_WIDTH_US&&RX_MAX_WIDTH_US>=RX_MIN_WIDTH_US&&RX_MAX_DURATION_MS&&RX_MAX_DURATION_MS<=UINT32_MAX/1000U&&
        RX_ISET_SETTLE_US;
}
static void off(uint8_t reason) {
    rx_hw_off();configured=false;end_ms=0;
    fault_code=reason;
    state=profile_valid()&&hw_ready?(reason==STIM_HARDWARE?STIM_FAULT:STIM_OFF):STIM_LOCKED;
}
void rx_stim_emergency_off(void){atomic_inc(&cancellation);rx_hw_off();}
uint32_t rx_stim_generation(void){return atomic_get(&cancellation);}
void rx_stim_stop(uint8_t reason){rx_hw_off();k_mutex_lock(&lock,K_FOREVER);off(reason);k_mutex_unlock(&lock);}
void rx_stim_session(uint32_t nonce,bool allowed) {
    rx_hw_off();k_mutex_lock(&lock,K_FOREVER);off(allowed?STIM_OK:STIM_SECURITY);session_nonce=nonce;link_allowed=allowed;k_mutex_unlock(&lock);
}
int rx_stim_init(void) {
    k_mutex_init(&lock);int err=rx_hw_init();hw_ready=!err;
    state=profile_valid()&&hw_ready?STIM_OFF:STIM_LOCKED;
    return err;
}
static bool valid(const struct stim_params *s) {
    if(!profile_valid()||!s||!s->current_ua||s->current_ua>RX_MAX_CURRENT_UA||s->frequency_mhz<RX_MIN_FREQUENCY_MHZ||
       s->frequency_mhz>RX_MAX_FREQUENCY_MHZ||s->width_us<RX_MIN_WIDTH_US||s->width_us>RX_MAX_WIDTH_US||
       !s->duration_ms||s->duration_ms>RX_MAX_DURATION_MS)return false;
    uint64_t period=(1000000000ULL+s->frequency_mhz/2)/s->frequency_mhz;
    /* Never support a continuous envelope or overlapping ON/OFF events. */
    return period<=UINT32_MAX&&s->width_us+2U<period;
}
uint8_t rx_stim_command(uint8_t op,uint32_t nonce,const struct stim_params *s,uint32_t permit) {
    k_mutex_lock(&lock,K_FOREVER);uint8_t result=STIM_OK;
    if(state==STIM_ACTIVE||state==STIM_SETTLING){if(k_uptime_get()>=end_ms)off(STIM_OK);else if(rx_hw_expired())off(STIM_TIMEOUT);}
    if(op==STIM_STOP)off(STIM_OK);
    else if(op==STIM_QUERY){};
    if(op!=STIM_QUERY&&op!=STIM_STOP) {
        if(!link_allowed||!session_nonce||nonce!=session_nonce){off(STIM_SECURITY);result=STIM_STALE;}
        else if(op==STIM_CONFIG) {
            if(state==STIM_ACTIVE||state==STIM_SETTLING){off(STIM_BUSY);result=STIM_BUSY;}
            else if(!valid(s)){off(STIM_BAD_RANGE);result=profile_valid()?STIM_BAD_RANGE:STIM_PROFILE;}
            else {settings=*s;if(rx_hw_apply(&settings)){off(STIM_HARDWARE);result=STIM_HARDWARE;}else{configured=true;state=STIM_OFF;fault_code=STIM_OK;}}
        } else if(op==STIM_START) {
            if(permit!=rx_stim_generation()||!configured||!valid(&settings)||!hw_ready||state!=STIM_OFF){off(STIM_NOT_READY);result=STIM_NOT_READY;}
            else {state=STIM_SETTLING;settle_ms=k_uptime_get()+(RX_ISET_SETTLE_US+999U)/1000U;
                armed_generation=permit;end_ms=settle_ms+settings.duration_ms;rx_hw_keepalive();}
        } else if(op==STIM_KEEPALIVE) {
            if(state==STIM_ACTIVE||state==STIM_SETTLING)rx_hw_keepalive();
            else if(state!=STIM_OFF)result=STIM_NOT_READY;
        } else {off(STIM_BAD_FRAME);result=STIM_BAD_FRAME;}
    }
    k_mutex_unlock(&lock);return result;
}
void rx_stim_poll(void) {
    k_mutex_lock(&lock,K_FOREVER);
    if(state==STIM_ACTIVE||state==STIM_SETTLING) {
        if(!link_allowed||armed_generation!=rx_stim_generation())off(STIM_SECURITY);
        else if(k_uptime_get()>=end_ms)off(STIM_OK);
        else if(rx_hw_expired())off(STIM_TIMEOUT);
    }
    if(state==STIM_SETTLING&&k_uptime_get()>=settle_ms) {
        unsigned int key=irq_lock();
        if(armed_generation!=rx_stim_generation()||rx_hw_start(&settings))off(STIM_HARDWARE);
        else {state=STIM_ACTIVE;end_ms=k_uptime_get()+settings.duration_ms;}
        irq_unlock(key);
    }
    k_mutex_unlock(&lock);
}
void rx_stim_status(uint8_t *p,uint16_t id,uint8_t op,uint8_t result) {
    memset(p,0,20);p[0]=STIM_WIRE_VERSION;p[1]=STIM_STATUS;sp16(p+2,id);p[4]=op;p[5]=result;
    k_mutex_lock(&lock,K_FOREVER);
    if(!op)p[5]=fault_code;
    uint16_t flags=(link_allowed?STIM_F_LINK_ALLOWED:0)|(profile_valid()?STIM_F_PROFILE:0)|
        (hw_ready?STIM_F_BOARD:0)|(configured?STIM_F_CONFIGURED:0)|(state<<8);
    if(link_allowed&&profile_valid()&&hw_ready&&(state==STIM_OFF||state==STIM_ACTIVE||state==STIM_SETTLING))flags|=STIM_F_READY;
    /* No voltage sensing on this RX. Keep the v2 voltage slots zero (unknown)
     * and leave STIM_F_POWER clear instead of fabricating a measured supply. */
    sp16(p+6,flags);sp32(p+8,session_nonce);
    sp32(p+16,end_ms?MAX(0,end_ms-k_uptime_get()):0);k_mutex_unlock(&lock);
}
void rx_stim_params(uint8_t *p,uint16_t id) {
    memset(p,0,20);p[0]=STIM_WIRE_VERSION;p[1]=STIM_PARAMS;sp16(p+2,id);
    k_mutex_lock(&lock,K_FOREVER);sp32(p+4,session_nonce);stim_encode_params(p,&settings);k_mutex_unlock(&lock);
}
void rx_stim_limits(uint8_t *p) {
    memset(p,0,20);p[0]=STIM_WIRE_VERSION;p[1]=STIM_LIMITS;sp16(p+2,RX_MAX_CURRENT_UA);
    sp32(p+4,RX_MIN_FREQUENCY_MHZ);sp32(p+8,RX_MAX_FREQUENCY_MHZ);
    sp16(p+12,RX_MIN_WIDTH_US);sp16(p+14,RX_MAX_WIDTH_US);sp32(p+16,RX_MAX_DURATION_MS);
}
```
